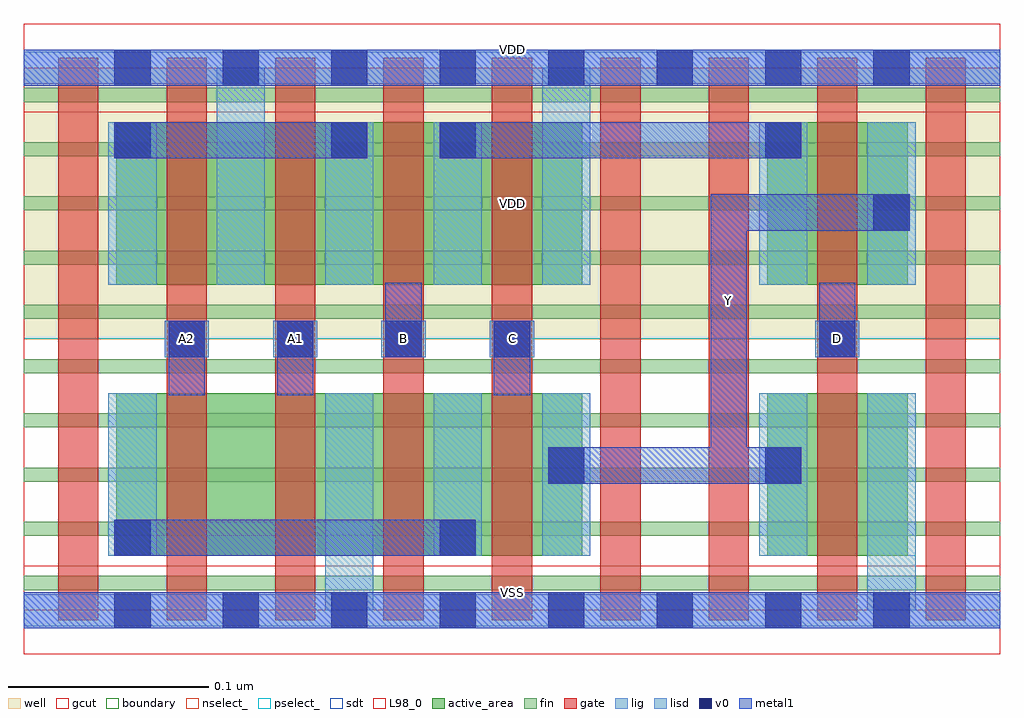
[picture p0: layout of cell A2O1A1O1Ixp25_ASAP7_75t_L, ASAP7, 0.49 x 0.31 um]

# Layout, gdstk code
import gdstk
lib = gdstk.Library(unit=1e-6, precision=2.5e-10)
def R(c, l, rs):  # rectangles x0, y0, x1, y1
    for r in rs: c.add(gdstk.rectangle(r[:2], r[2:], *l))
def A(c, l, x, y, w, h, nx, ny, dx, dy):  # array of equal rectangles
    R(c, l, [(x+i*dx, y+j*dy, x+i*dx+w, y+j*dy+h) for i in range(nx) for j in range(ny)])
def P(c, l, *ps):  # polygons
    for p in ps: c.add(gdstk.Polygon(p, *l))
well = (1, 0)
fin = (2, 0)
gate = (7, 0)
gcut = (10, 0)
active_area = (11, 0)
nselect_ = (12, 0)
pselect_ = (13, 0)
lig = (16, 0)
lisd = (17, 0)
v0 = (18, 0)
metal1 = (19, 0)
sdt = (88, 0)
L98_0 = (98, 0)
boundary = (100, 0)

a2o1a1o1ixp25_asap7_75t_ = lib.new_cell('A2O1A1O1Ixp25_ASAP7_75t_L')
R(a2o1a1o1ixp25_asap7_75t_, well, [(0,0.135,0.486,0.27)])
A(a2o1a1o1ixp25_asap7_75t_, fin, 0, 0.01, 0.486, 0.007, 1, 10, 0, 0.027)
A(a2o1a1o1ixp25_asap7_75t_, gate, 0.017, -0.005, 0.02, 0.28, 9, 1, 0.054, 0)
R(a2o1a1o1ixp25_asap7_75t_, gcut, [(0,-0.022,0.486,0.022), (0,0.248,0.486,0.292)])
R(a2o1a1o1ixp25_asap7_75t_, active_area, [(0.046,0.027,0.278,0.108), (0.37,0.027,0.44,0.108), (0.046,0.162,0.278,0.243), (0.37,0.162,0.44,0.243)])
R(a2o1a1o1ixp25_asap7_75t_, nselect_, [(0,0,0.486,0.135)])
R(a2o1a1o1ixp25_asap7_75t_, pselect_, [(0,0.135,0.486,0.27)])
A(a2o1a1o1ixp25_asap7_75t_, lig, 0.07, 0.126, 0.022, 0.018, 4, 1, 0.054, 0)
R(a2o1a1o1ixp25_asap7_75t_, lig, [(0,-0.008,0.486,0.008), (0.394,0.126,0.416,0.144), (0,0.262,0.486,0.278)])
R(a2o1a1o1ixp25_asap7_75t_, lisd, [(0.15,0,0.174,0.108), (0.15,0,0.174,0.108), (0.42,0,0.444,0.108), (0.42,0,0.444,0.108), (0.042,0.027,0.066,0.108), (0.204,0.027,0.228,0.108), (0.258,0.027,0.282,0.108), (0.366,0.027,0.39,0.108), (0.042,0.162,0.066,0.243), (0.096,0.162,0.12,0.27), (0.096,0.162,0.12,0.27), (0.15,0.162,0.174,0.243), (0.204,0.162,0.228,0.243), (0.258,0.162,0.282,0.27), (0.258,0.162,0.282,0.27), (0.366,0.162,0.39,0.243), (0.42,0.162,0.444,0.243)])
A(a2o1a1o1ixp25_asap7_75t_, v0, 0.045, -0.009, 0.018, 0.018, 8, 2, 0.054, 0.27)
A(a2o1a1o1ixp25_asap7_75t_, v0, 0.072, 0.126, 0.018, 0.018, 4, 1, 0.054, 0)
R(a2o1a1o1ixp25_asap7_75t_, v0, [(0.045,0.027,0.063,0.045), (0.207,0.027,0.225,0.045), (0.261,0.063,0.279,0.081), (0.369,0.063,0.387,0.081), (0.396,0.126,0.414,0.144), (0.423,0.189,0.441,0.207), (0.045,0.225,0.063,0.243), (0.153,0.225,0.171,0.243), (0.207,0.225,0.225,0.243), (0.369,0.225,0.387,0.243)])
A(a2o1a1o1ixp25_asap7_75t_, metal1, 0.072, 0.126, 0.018, 0.018, 4, 1, 0.054, 0)
R(a2o1a1o1ixp25_asap7_75t_, metal1, [(0,-0.009,0.486,0.009), (0.045,0.027,0.063,0.045), (0.045,0.027,0.225,0.045), (0.207,0.027,0.225,0.045), (0.261,0.063,0.279,0.081), (0.369,0.063,0.387,0.081), (0.072,0.107,0.09,0.144), (0.126,0.107,0.144,0.144), (0.234,0.107,0.252,0.144), (0.18,0.126,0.198,0.163), (0.396,0.126,0.414,0.144), (0.396,0.126,0.414,0.163), (0.423,0.189,0.441,0.207), (0.045,0.225,0.063,0.243), (0.045,0.225,0.171,0.243), (0.153,0.225,0.171,0.243), (0.207,0.225,0.225,0.243), (0.207,0.225,0.387,0.243), (0.369,0.225,0.387,0.243), (0,0.261,0.486,0.279)])
P(a2o1a1o1ixp25_asap7_75t_, metal1, [(0.441,0.207),(0.342,0.207),(0.342,0.081),(0.261,0.081),(0.261,0.063),(0.387,0.063),(0.387,0.081),(0.36,0.081),(0.36,0.189),(0.441,0.189)])
A(a2o1a1o1ixp25_asap7_75t_, sdt, 0.15, 0.027, 0.024, 0.081, 3, 1, 0.054, 0)
A(a2o1a1o1ixp25_asap7_75t_, sdt, 0.096, 0.162, 0.024, 0.081, 4, 1, 0.054, 0)
R(a2o1a1o1ixp25_asap7_75t_, sdt, [(0.042,0.027,0.066,0.108), (0.15,0.027,0.174,0.108), (0.366,0.027,0.39,0.108), (0.42,0.027,0.444,0.108), (0.42,0.027,0.444,0.108), (0.042,0.162,0.066,0.243), (0.096,0.162,0.12,0.243), (0.258,0.162,0.282,0.243), (0.366,0.162,0.39,0.243), (0.42,0.162,0.444,0.243)])
R(a2o1a1o1ixp25_asap7_75t_, L98_0, [(0,0,0.486,0.27)])
R(a2o1a1o1ixp25_asap7_75t_, boundary, [(0,0,0.486,0.27)])
a2o1a1o1ixp25_asap7_75t_.add(gdstk.Label('VDD', (0.243,0.2025), layer=1, texttype=251))
a2o1a1o1ixp25_asap7_75t_.add(gdstk.Label('VSS', (0.243,-0.0675), layer=3, texttype=251))
a2o1a1o1ixp25_asap7_75t_.add(gdstk.Label('VSS', (0.243,0.009), layer=19, texttype=251))
a2o1a1o1ixp25_asap7_75t_.add(gdstk.Label('VDD', (0.243,0.279), layer=19, texttype=251))
a2o1a1o1ixp25_asap7_75t_.add(gdstk.Label('A2', (0.081,0.135), layer=19, texttype=251))
a2o1a1o1ixp25_asap7_75t_.add(gdstk.Label('A1', (0.135,0.135), layer=19, texttype=251))
a2o1a1o1ixp25_asap7_75t_.add(gdstk.Label('B', (0.189,0.135), layer=19, texttype=251))
a2o1a1o1ixp25_asap7_75t_.add(gdstk.Label('Y', (0.351,0.154), layer=19, texttype=251))
a2o1a1o1ixp25_asap7_75t_.add(gdstk.Label('C', (0.243,0.135), layer=19, texttype=251))
a2o1a1o1ixp25_asap7_75t_.add(gdstk.Label('D', (0.405,0.135), layer=19, texttype=251))

lib.write_gds('A2O1A1O1Ixp25_ASAP7_75t_L.gds')
